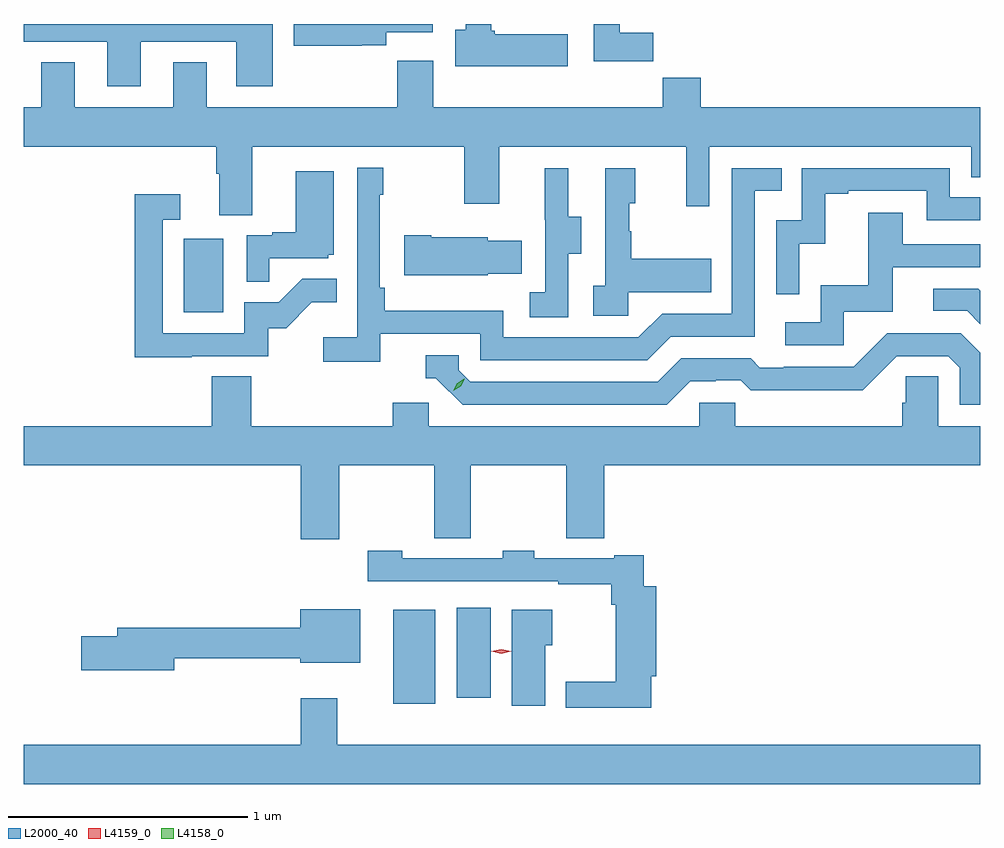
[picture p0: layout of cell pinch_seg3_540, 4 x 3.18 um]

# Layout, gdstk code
import gdstk
lib = gdstk.Library(unit=1e-6, precision=1e-09)
def R(c, l, rs):  # rectangles x0, y0, x1, y1
    for r in rs: c.add(gdstk.rectangle(r[:2], r[2:], *l))
def P(c, l, *ps):  # polygons
    for p in ps: c.add(gdstk.Polygon(p, *l))
L2000_40 = (2000, 40)
L4158_0 = (4158, 0)
L4159_0 = (4159, 0)

pinch_seg3_540 = lib.new_cell('pinch_seg3_540')
R(pinch_seg3_540, L2000_40, [(1132.562,702.584,1132.738,702.976), (1132.826,702.609,1132.969,702.985), (1131.686,704.22,1131.85,704.527)])
P(pinch_seg3_540, L2000_40, [(1133.29,705.382),(1132.986,705.382),(1132.986,705.396),(1132.972,705.396),(1132.972,705.425),(1132.865,705.425),(1132.865,705.402),(1132.82,705.402),(1132.82,705.248),(1133.29,705.248)],
  [(1131.505,705.351),(1131.905,705.351),(1131.905,705.165),(1132.057,705.165),(1132.057,705.425),(1131.016,705.425),(1131.016,705.351),(1131.365,705.351),(1131.365,705.165),(1131.505,705.165)],
  [(1133.648,705.388),(1133.509,705.388),(1133.509,705.425),(1133.399,705.425),(1133.399,705.27),(1133.648,705.27)],
  [(1132.43,705.336),(1132.532,705.336),(1132.532,705.39),(1132.726,705.39),(1132.726,705.425),(1132.146,705.425),(1132.146,705.335),(1132.43,705.335)],
  [(1131.973,704.912),(1132.858,704.912),(1132.858,704.673),(1133.005,704.673),(1133.005,704.912),(1133.786,704.912),(1133.786,704.664),(1133.883,704.664),(1133.883,704.912),(1134.978,704.912),(1134.978,704.785),(1135.016,704.785),(1135.016,705.076),(1133.846,705.076),(1133.846,705.2),(1133.689,705.2),(1133.689,705.076),(1132.729,705.076),(1132.729,705.271),(1132.579,705.271),(1132.579,705.076),(1131.781,705.076),(1131.781,705.266),(1131.641,705.266),(1131.641,705.076),(1131.229,705.076),(1131.229,705.266),(1131.089,705.266),(1131.089,705.076),(1131.016,705.076),(1131.016,704.912),(1131.821,704.912),(1131.821,704.8),(1131.833,704.8),(1131.833,704.626),(1131.973,704.626)],
  [(1132.508,704.13),(1132.926,704.13),(1132.926,704.019),(1133.623,704.019),(1133.722,704.118),(1134.072,704.118),(1134.072,704.727),(1134.185,704.727),(1134.185,704.823),(1133.976,704.823),(1133.976,704.214),(1133.685,704.214),(1133.586,704.115),(1133.022,704.115),(1133.022,704.227),(1132.526,704.227),(1132.526,704.323),(1132.506,704.323),(1132.506,704.711),(1132.519,704.711),(1132.519,704.824),(1132.41,704.824),(1132.41,704.116),(1132.269,704.116),(1132.269,704.014),(1132.508,704.014)],
  [(1134.258,704.507),(1134.368,704.507),(1134.368,704.715),(1134.463,704.715),(1134.463,704.727),(1134.792,704.727),(1134.792,704.604),(1135.016,704.604),(1135.016,704.7),(1134.888,704.7),(1134.888,704.823),(1134.27,704.823),(1134.27,704.604),(1134.162,704.604),(1134.162,704.295),(1134.258,704.295)],
  [(1133.292,704.464),(1133.347,704.464),(1133.347,704.619),(1133.293,704.619),(1133.293,704.821),(1133.195,704.821),(1133.195,704.607),(1133.196,704.607),(1133.196,704.303),(1133.133,704.303),(1133.133,704.2),(1133.292,704.2)],
  [(1133.544,704.303),(1133.891,704.303),(1133.891,704.443),(1133.557,704.443),(1133.557,704.558),(1133.547,704.558),(1133.547,704.676),(1133.572,704.676),(1133.572,704.821),(1133.448,704.821),(1133.448,704.33),(1133.397,704.33),(1133.397,704.205),(1133.544,704.205)],
  [(1132.043,704.445),(1132.29,704.445),(1132.29,704.46),(1132.312,704.46),(1132.312,704.809),(1132.154,704.809),(1132.154,704.554),(1132.055,704.554),(1132.055,704.541),(1131.948,704.541),(1131.948,704.347),(1132.043,704.347)],
  [(1131.719,704.037),(1132.038,704.037),(1132.038,704.154),(1132.114,704.154),(1132.221,704.261),(1132.325,704.261),(1132.325,704.36),(1132.181,704.36),(1132.083,704.262),(1131.939,704.262),(1131.939,704.133),(1131.597,704.133),(1131.597,704.607),(1131.67,704.607),(1131.67,704.713),(1131.481,704.713),(1131.481,704.032),(1131.719,704.032)],
  [(1134.444,704.223),(1134.649,704.223),(1134.649,704.409),(1135.016,704.409),(1135.016,704.505),(1134.691,704.505),(1134.691,704.635),(1134.547,704.635),(1134.547,704.332),(1134.348,704.332),(1134.348,704.178),(1134.201,704.178),(1134.201,704.082),(1134.444,704.082)],
  [(1132.956,704.381),(1133.099,704.381),(1133.099,704.518),(1132.956,704.518),(1132.956,704.533),(1132.72,704.533),(1132.72,704.541),(1132.608,704.541),(1132.608,704.375),(1132.956,704.375)],
  [(1135.016,704.309),(1135.006,704.319),(1134.819,704.319),(1134.819,704.226),(1134.96,704.226),(1135.016,704.17)],
  [(1133.803,703.932),(1133.91,703.932),(1133.91,703.935),(1134.013,703.935),(1134.055,703.893),(1134.288,703.893),(1134.288,703.895),(1134.524,703.895),(1134.666,704.037),(1134.882,704.037),(1134.93,703.989),(1134.93,703.833),(1135.016,703.833),(1135.016,704.05),(1134.933,704.133),(1134.627,704.133),(1134.486,703.992),(1134.193,703.992),(1134.193,703.989),(1134.094,703.989),(1134.055,704.028),(1133.766,704.028),(1133.667,703.929),(1132.884,703.929),(1132.836,703.977),(1132.836,704.04),(1132.697,704.04),(1132.697,703.944),(1132.74,703.944),(1132.851,703.833),(1133.704,703.833)],
  [(1132.335,703.58),(1132.732,703.58),(1132.732,703.276),(1132.886,703.276),(1132.886,703.58),(1133.284,703.58),(1133.284,703.276),(1133.444,703.276),(1133.444,703.58),(1135.016,703.58),(1135.016,703.744),(1134.84,703.744),(1134.84,703.952),(1134.703,703.952),(1134.703,703.842),(1134.689,703.842),(1134.689,703.744),(1133.991,703.744),(1133.991,703.842),(1133.841,703.842),(1133.841,703.744),(1132.71,703.744),(1132.71,703.842),(1132.559,703.842),(1132.559,703.744),(1131.968,703.744),(1131.968,703.952),(1131.803,703.952),(1131.803,703.744),(1131.016,703.744),(1131.016,703.58),(1132.175,703.58),(1132.175,703.272),(1132.335,703.272)],
  [(1133.639,702.699),(1133.66,702.699),(1133.66,703.075),(1133.609,703.075),(1133.609,703.204),(1133.486,703.204),(1133.486,703.191),(1133.151,703.191),(1133.151,703.224),(1133.019,703.224),(1133.019,703.191),(1132.599,703.191),(1132.599,703.224),(1132.455,703.224),(1132.455,703.095),(1133.251,703.095),(1133.251,703.083),(1133.473,703.083),(1133.473,702.998),(1133.492,702.998),(1133.492,702.676),(1133.283,702.676),(1133.283,702.566),(1133.639,702.566)],
  [(1131.646,702.774),(1132.172,702.774),(1132.172,702.755),(1132.423,702.755),(1132.423,702.979),(1132.172,702.979),(1132.172,702.902),(1131.407,702.902),(1131.407,702.866),(1131.258,702.866),(1131.258,702.724),(1131.646,702.724)],
  [(1133.197,702.829),(1133.227,702.829),(1133.227,702.976),(1133.057,702.976),(1133.057,702.576),(1133.197,702.576)],
  [(1135.016,702.412),(1132.327,702.412),(1132.327,702.607),(1132.175,702.607),(1132.175,702.412),(1131.016,702.412),(1131.016,702.248),(1135.016,702.248)])
P(pinch_seg3_540, L4158_0, [(1132.812,703.892),(1132.812,703.892),(1132.828,703.924),(1132.859,703.943),(1132.86,703.943),(1132.86,703.943),(1132.843,703.91),(1132.812,703.892)])
P(pinch_seg3_540, L4159_0, [(1133.013,702.792),(1132.972,702.802),(1132.972,702.803),(1132.972,702.803),(1133.013,702.812),(1133.054,702.802),(1133.054,702.802),(1133.054,702.802)])

lib.write_gds('pinch_seg3_540.gds')
